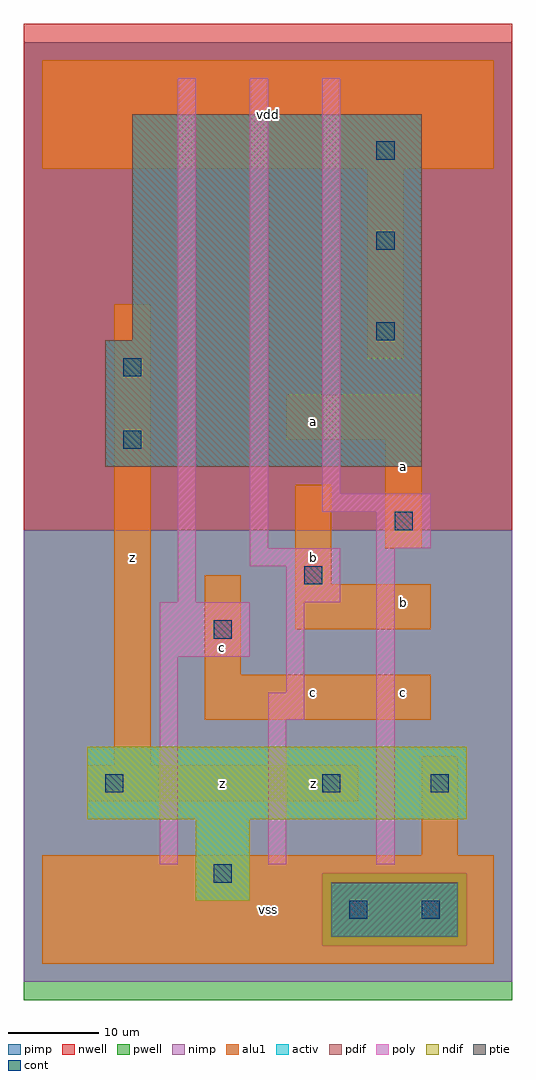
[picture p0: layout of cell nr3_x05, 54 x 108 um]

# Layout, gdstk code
import gdstk
lib = gdstk.Library(unit=1e-6, precision=1e-09)
def R(c, l, rs):  # rectangles x0, y0, x1, y1
    for r in rs: c.add(gdstk.rectangle(r[:2], r[2:], *l))
def A(c, l, x, y, w, h, nx, ny, dx, dy):  # array of equal rectangles
    R(c, l, [(x+i*dx, y+j*dy, x+i*dx+w, y+j*dy+h) for i in range(nx) for j in range(ny)])
ndif = (3, 0)
pdif = (4, 0)
ptie = (6, 0)
cont = (25, 0)
pwell = (41, 0)
nwell = (42, 0)
activ = (43, 0)
pimp = (44, 0)
nimp = (45, 0)
poly = (46, 0)
alu1 = (49, 0)

nr3_x05 = lib.new_cell('nr3_x05')
R(nr3_x05, ndif, [(17,7,23,16), (5,16,47,24)])
R(nr3_x05, pdif, [(7,55,42,69), (10,69,42,94)])
R(nr3_x05, ptie, [(32,3,46,9)])
A(nr3_x05, cont, 37, 69, 2, 2, 1, 3, 0, 10)
R(nr3_x05, cont, [(34,5,36,7), (42,5,44,7), (19,9,21,11), (7,19,9,21), (31,19,33,21), (43,19,45,21), (19,36,21,38), (29,42,31,44), (39,48,41,50), (9,57,11,59), (9,65,11,67)])
R(nr3_x05, pwell, [(-2,-4,52,48)])
R(nr3_x05, nwell, [(-2,48,52,104)])
R(nr3_x05, activ, [(32,3,46,9), (17,7,23,16), (5,16,47,24), (7,55,42,69), (10,69,42,94)])
R(nr3_x05, pimp, [(31,2,47,10), (-2,48,52,102)])
R(nr3_x05, nimp, [(-2,-2,52,2), (-2,2,31,10), (47,2,52,10), (-2,10,52,48)])
R(nr3_x05, poly, [(13,11,15,34), (25,11,27,27), (37,11,39,46), (25,27,29,30), (27,30,29,40), (13,34,23,40), (15,40,17,98), (27,40,33,44), (23,44,33,46), (23,46,25,98), (37,46,43,50), (31,50,43,52), (31,52,33,98)])
R(nr3_x05, alu1, [(0,0,50,12), (42,12,46,23), (5,18,35,22), (8,22,12,73), (18,27,43,32), (18,32,22,43), (28,37,43,42), (28,42,32,53), (38,46,42,58), (27,58,42,63), (36,67,40,88), (0,88,50,100)])
nr3_x05.add(gdstk.Label('z', (20,20), layer=49, texttype=0))
nr3_x05.add(gdstk.Label('z', (10,45), layer=49, texttype=0))
nr3_x05.add(gdstk.Label('c', (20,35), layer=49, texttype=0))
nr3_x05.add(gdstk.Label('vss', (25,6), layer=49, texttype=0))
nr3_x05.add(gdstk.Label('z', (30,20), layer=49, texttype=0))
nr3_x05.add(gdstk.Label('b', (30,45), layer=49, texttype=0))
nr3_x05.add(gdstk.Label('c', (30,30), layer=49, texttype=0))
nr3_x05.add(gdstk.Label('a', (30,60), layer=49, texttype=0))
nr3_x05.add(gdstk.Label('vdd', (25,94), layer=49, texttype=0))
nr3_x05.add(gdstk.Label('b', (40,40), layer=49, texttype=0))
nr3_x05.add(gdstk.Label('c', (40,30), layer=49, texttype=0))
nr3_x05.add(gdstk.Label('a', (40,55), layer=49, texttype=0))

lib.write_gds('nr3_x05.gds')
